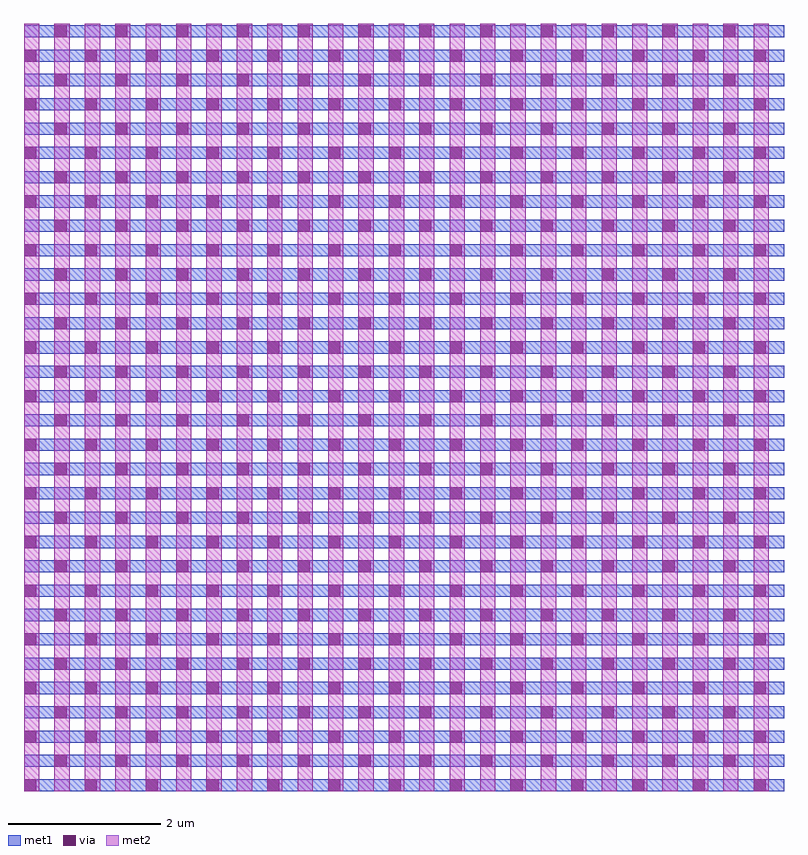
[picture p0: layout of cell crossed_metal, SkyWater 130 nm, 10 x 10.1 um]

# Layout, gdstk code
import gdstk
lib = gdstk.Library(unit=1e-6, precision=1e-09)
def R(c, l, rs):  # rectangles x0, y0, x1, y1
    for r in rs: c.add(gdstk.rectangle(r[:2], r[2:], *l))
def A(c, l, x, y, w, h, nx, ny, dx, dy):  # array of equal rectangles
    R(c, l, [(x+i*dx, y+j*dy, x+i*dx+w, y+j*dy+h) for i in range(nx) for j in range(ny)])
met1 = (68, 20)
via = (68, 44)
met2 = (69, 20)

crossed_metal = lib.new_cell('crossed_metal')
A(crossed_metal, met1, 0, 0, 10, 0.16, 1, 32, 0, 0.32)
A(crossed_metal, via, 0, 0, 0.16, 0.16, 13, 16, 0.8, 0.64)
A(crossed_metal, via, 0.4, 0.32, 0.16, 0.16, 12, 16, 0.8, 0.64)
A(crossed_metal, met2, 0, 0, 0.2, 10.1, 25, 1, 0.4, 0)

lib.write_gds('crossed_metal.gds')
